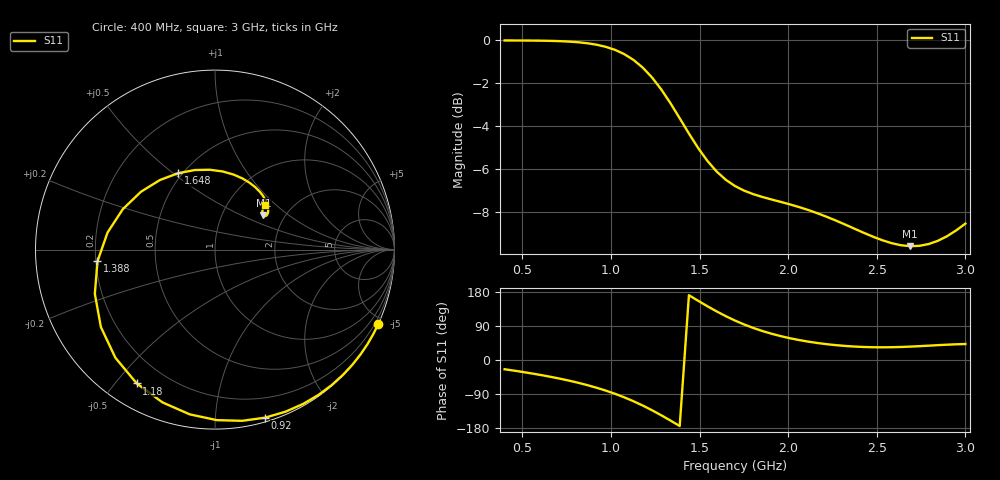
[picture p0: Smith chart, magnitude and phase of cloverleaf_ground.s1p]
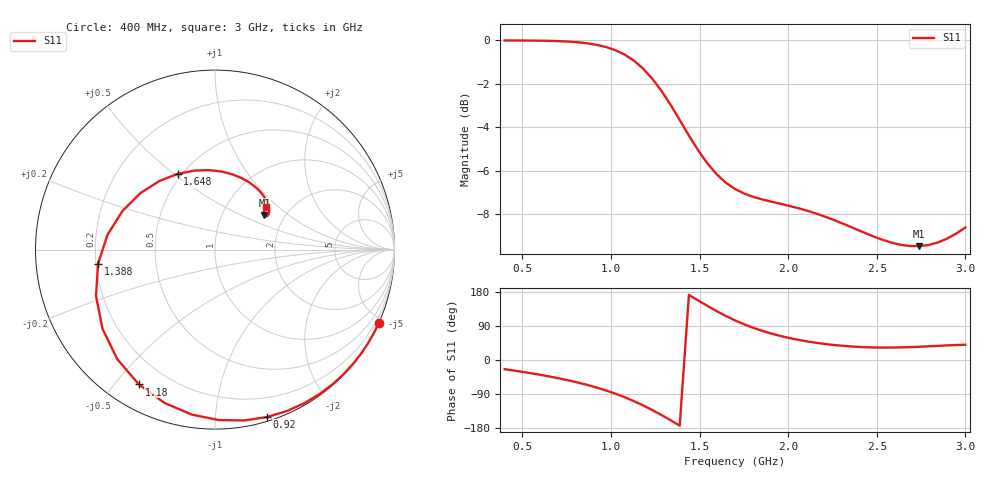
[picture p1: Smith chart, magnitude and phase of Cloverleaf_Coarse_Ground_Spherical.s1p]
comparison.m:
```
%% Comparison of Feko simulations
%  This script compares resutls from Feko simulations
%
%  Written by Wietse Bouwmeester
%  Date: 2020-01-06

clear;
close all;

% Settings
ff_frequency = 3e9;

%% Import Feko files
filenames = [{'cloverleaf_ground/cloverleaf_ground.s1p'} {'Flat'} {'cloverleaf_ground/far fields/test.ffe'};
             {'cloverleaf_coarse_ground_spherical/Cloverleaf_Coarse_Ground_Spherical.s1p'} {'Spherical'} {'cloverleaf_coarse_ground_spherical/far fields/1.ffe'}];
Z_0 = 100;

for i = 1:size(filenames,1)
    % S-parameters
    touchstone = nport(cell2mat(filenames(i,1)));
    S11(i) = {squeeze(touchstone.NetworkData.Parameters(1,1,:))};
    f(i) = {touchstone.NetworkData.Frequencies.'};
    
    % Compute impedances
    Z_antenna(i) = {(cell2mat(S11(i))+1)./(1-cell2mat(S11(i))).*Z_0};
    
    % Load far fields
    % Open file
    filename = cell2mat(filenames(i,3));
    fid = fopen(filename);
    
    % Discard first 6 header lines
    for j = 1:6
        fgets(fid);            
    end
    
    % Discard first two lines
    fgets(fid); fgets(fid);

    % Read frequency
    i_freq = 1;
    FF_f(i, i_freq) = fscanf(fid, '#Frequency: %f\n');

    % Skip more lines
    for j = 1:6
        fgets(fid);
    end
    
    endfile = false; Nline = 1;
    while endfile == false
        % Load data
        FF = fscanf(fid, '%f %f %f %f %f %f %f %f %f\n', [9, 1]);

        if isempty(FF)
            if feof(fid) == true
                break;                
            end
            
            i_freq = i_freq+1;
            Nline = 1;
            
            % Discard first two lines
            fgets(fid); fgets(fid);

            % Read frequency
            FF_f(i, i_freq) = fscanf(fid, '#Frequency: %f\n');

            % Skip more lines
            for j = 1:6
                fgets(fid);
            end
        else
            E_theta(i, i_freq, Nline) = FF(3)+1j.*FF(4);
            E_phi(i, i_freq, Nline)   = FF(5)+1j.*FF(6);
            
            theta(i, i_freq, Nline) = deg2rad(FF(1));
            phi(i, i_freq, Nline) = deg2rad(FF(2));
            
            Nline = Nline+1;
        end

    end
    
    % Close file
    fclose(fid);
end

%% Plot Impedances
f_min = min(touchstone.NetworkData.Frequencies);
f_max = max(touchstone.NetworkData.Frequencies);

figure;
for i = 1:size(filenames,1)
    subplot(2,1,1); hold on;
    plot(cell2mat(f(i)), real(cell2mat(Z_antenna(i))), 'DisplayName', cell2mat(filenames(i,2)));
    
    subplot(2,1,2); hold on;
    plot(cell2mat(f(i)), imag(cell2mat(Z_antenna(i))), 'DisplayName', cell2mat(filenames(i,2)));
end

subplot(2,1,1);
grid on; legend;
xlabel('Frequency [Hz]'); ylabel('Re(Input Impedance) [\Omega]');
title('Input Impedance'); xlim([f_min f_max]);

subplot(2,1,2);
grid on; legend;
xlabel('Frequency [Hz]'); ylabel('Im(Input Impedance) [\Omega]');
xlim([f_min f_max]);

%% Plot far fields
% Calculate absolute values of far field
E_abs = sqrt(abs(E_theta).^2+abs(E_phi).^2);

% Plot the far field cuts
%Initialise figure
fig_compare = figure; 
hold on;
phi_cut_1 = 0;
phi_cut_2 = deg2rad(90);

for i = 1:size(filenames,1)
    % Find index that is closest to frequency
    index_f = find(abs(FF_f(i,:) - ff_frequency) == min(abs(FF_f(i,:) - ff_frequency)));
    
    % Find number of unique theta and phi coordinates
    N_theta = length(unique(theta(i, index_f, :)));
    N_phi = length(unique(phi(i, index_f, :)));
    
    % Reshape everything
    theta_res = reshape(theta(i, index_f, :), [N_theta N_phi]);
    phi_res   = reshape(phi(i, index_f, :), [N_theta N_phi]);
    
    E_abs_res = reshape(E_abs(i, index_f, :), [N_theta N_phi]);
    
    % Find indices of phi cuts
    [~,index_phi_1] = find(abs(phi_res - phi_cut_1) == min(min(abs(phi_res - phi_cut_1))), 1);
    [~,index_phi_2] = find(abs(phi_res - phi_cut_2) == min(min(abs(phi_res - phi_cut_2))), 1);
    
    % Plot radiation pattern
    figure(fig_compare); subplot(2,1,1); hold on;  
    plot(rad2deg(theta_res(:,index_phi_1)), E_abs_res(:,index_phi_1), 'DisplayName', cell2mat(filenames(i,2)));

    subplot(2,1,2); hold on;
    plot(rad2deg(theta_res(:,index_phi_2)), E_abs_res(:,index_phi_2), 'DisplayName', cell2mat(filenames(i,2)));

    % Plot 3D pattern
    C = E_abs_res;
    R = C-min(min(C));

    figure;
    surf(R.*sin(theta_res).*cos(phi_res), R.*sin(theta_res).*sin(phi_res), R.*cos(theta_res), C)

    grid on; shading interp; colorbar;
    title('Rotated 3D Embedded Far E-Field'); axis equal;
    xlabel('x'); ylabel('y'); zlabel('z');
    view([0 0 1]);
end

figure(fig_compare); subplot(2,1,1); 
grid on; xlabel('\theta'); ylabel('|E|'); xlim([0 180]); legend;
title(['\phi = ' num2str(rad2deg(phi_res(1,index_phi_1)))]);

subplot(2,1,2);
grid on; xlabel('\theta'); ylabel('|E|'); xlim([0 180]); legend;
title(['\phi = ' num2str(rad2deg(phi_res(1,index_phi_2)))]);

sgtitle(['E-field cuts @ ' num2str(FF_f(i,index_f)./1e9) ' GHz']);
```
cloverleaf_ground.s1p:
! S-parameter export from POSTFEKO
! Filename: cloverleaf_ground_plane
! Creation date: 2020-01-06 15:27:49
# Hz S MA R  1.0000000E+2
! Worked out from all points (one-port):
!   51 points, 400 MHz to 3 GHz, reference 100 ohm
!   lowest |S11| = -9.6 dB at 2.688 GHz (marker M1), VSWR 1.99, Z = 156 + j67.1 ohm
!   |S11| at or under -10 dB: nowhere
!   S11 on the Smith chart (normalised r, x): 400 MHz: 0.00, -4.63; 920 MHz: 0.03, -1.34; 1.18 GHz: 0.10, -0.57; 1.388 GHz: 0.21, -0.05; 1.648 GHz: 0.48, +0.52; 3 GHz: 1.47, +0.86
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4e8  0.9999 -24.4
7.12e8  0.9962 -49.3
9.2e8  0.9771 -73.3
1.076e9  0.9287 -98.7
1.18e9  0.8637 -120.3
1.284e9  0.7683 -145.8
1.388e9  0.6581 -174.3
1.492e9  0.5607 156.3
1.648e9  0.4727 115.6
1.908e9  0.425 69.1
2.168e9  0.3945 44.7
2.428e9  0.3553 34.3
2.688e9  0.3308 35.3
3e9  0.3735 42.2
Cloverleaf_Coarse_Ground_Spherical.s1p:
! S-parameter export from POSTFEKO
! Filename: cloverleaf_coarse_ground_spherical
! Creation date: 2020-01-08 10:34:23
# Hz S MA R  1.0000000E+2
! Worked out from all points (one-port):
!   51 points, 400 MHz to 3 GHz, reference 100 ohm
!   lowest |S11| = -9.5 dB at 2.74 GHz (marker M1), VSWR 2.01, Z = 158 + j68.5 ohm
!   |S11| at or under -10 dB: nowhere
!   S11 on the Smith chart (normalised r, x): 400 MHz: 0.00, -4.66; 920 MHz: 0.03, -1.36; 1.18 GHz: 0.10, -0.58; 1.388 GHz: 0.21, -0.06; 1.648 GHz: 0.48, +0.52; 3 GHz: 1.51, +0.84
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4e8  0.9999 -24.2
7.12e8  0.996 -48.9
9.2e8  0.9769 -72.8
1.076e9  0.9283 -98.0
1.18e9  0.8626 -119.5
1.284e9  0.7666 -144.8
1.388e9  0.656 -173.2
1.492e9  0.5586 157.3
1.648e9  0.4705 116.3
1.908e9  0.4251 69.4
2.168e9  0.3981 44.7
2.48e9  0.354 33.1
2.74e9  0.336 35.0
3e9  0.3709 40.3
